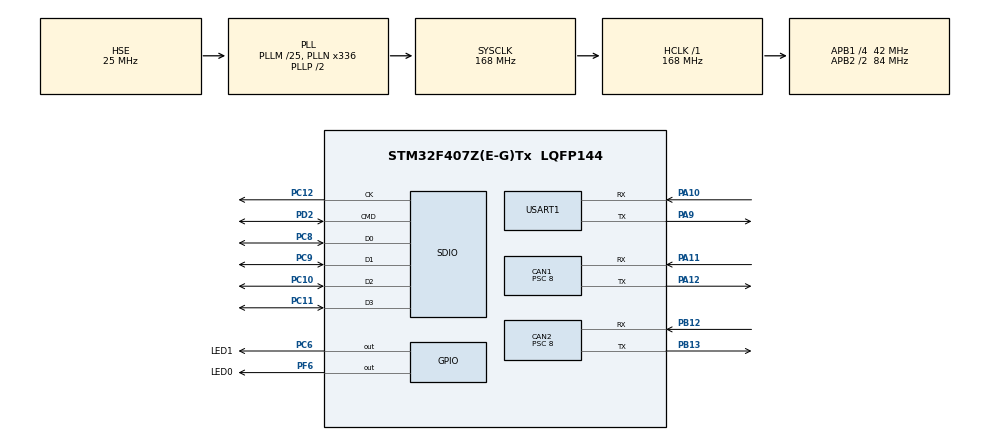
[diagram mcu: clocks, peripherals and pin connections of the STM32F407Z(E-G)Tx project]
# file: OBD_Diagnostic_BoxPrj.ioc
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CAN1.ABOM=ENABLE
CAN1.AWUM=ENABLE
CAN1.BS1=CAN_BS1_16TQ
CAN1.BS2=CAN_BS2_4TQ
CAN1.CalculateBaudRate=250000
CAN1.CalculateTimeBit=4000
CAN1.CalculateTimeQuantum=190.47619047619048
CAN1.Prescaler=8
CAN1.SJW=CAN_SJW_2TQ
CAN2.ABOM=ENABLE
CAN2.AWUM=ENABLE
CAN2.BS1=CAN_BS1_16TQ
CAN2.BS2=CAN_BS2_4TQ
CAN2.CalculateBaudRate=250000
CAN2.CalculateTimeBit=4000
CAN2.CalculateTimeQuantum=190.47619047619048
CAN2.Prescaler=8
CAN2.SJW=CAN_SJW_2TQ
Dma.Request0=USART1_TX
Dma.Request1=SDIO_RX
Dma.Request2=SDIO_TX
Dma.SDIO_RX.1.Direction=DMA_PERIPH_TO_MEMORY
Dma.SDIO_RX.1.FIFOMode=DMA_FIFOMODE_ENABLE
Dma.SDIO_RX.1.FIFOThreshold=DMA_FIFO_THRESHOLD_FULL
Dma.SDIO_RX.1.Instance=DMA2_Stream3
Dma.SDIO_RX.1.MemBurst=DMA_MBURST_SINGLE
Dma.SDIO_RX.1.MemDataAlignment=DMA_MDATAALIGN_BYTE
Dma.SDIO_RX.1.MemInc=DMA_MINC_ENABLE
Dma.SDIO_RX.1.Mode=DMA_PFCTRL
Dma.SDIO_RX.1.PeriphBurst=DMA_PBURST_INC4
Dma.SDIO_RX.1.PeriphDataAlignment=DMA_PDATAALIGN_WORD
Dma.SDIO_RX.1.PeriphInc=DMA_PINC_DISABLE
Dma.SDIO_RX.1.Priority=DMA_PRIORITY_LOW
Dma.SDIO_TX.2.Direction=DMA_MEMORY_TO_PERIPH
Dma.SDIO_TX.2.FIFOMode=DMA_FIFOMODE_ENABLE
Dma.SDIO_TX.2.FIFOThreshold=DMA_FIFO_THRESHOLD_FULL
Dma.SDIO_TX.2.Instance=DMA2_Stream6
Dma.SDIO_TX.2.MemBurst=DMA_MBURST_SINGLE
Dma.SDIO_TX.2.MemDataAlignment=DMA_MDATAALIGN_BYTE
Dma.SDIO_TX.2.MemInc=DMA_MINC_ENABLE
Dma.SDIO_TX.2.Mode=DMA_PFCTRL
Dma.SDIO_TX.2.PeriphBurst=DMA_PBURST_INC4
Dma.SDIO_TX.2.PeriphDataAlignment=DMA_PDATAALIGN_WORD
Dma.SDIO_TX.2.PeriphInc=DMA_PINC_DISABLE
Dma.SDIO_TX.2.Priority=DMA_PRIORITY_LOW
Dma.USART1_TX.0.Direction=DMA_MEMORY_TO_PERIPH
Dma.USART1_TX.0.FIFOMode=DMA_FIFOMODE_DISABLE
Dma.USART1_TX.0.Instance=DMA2_Stream7
Dma.USART1_TX.0.MemDataAlignment=DMA_MDATAALIGN_BYTE
Dma.USART1_TX.0.MemInc=DMA_MINC_ENABLE
Dma.USART1_TX.0.Mode=DMA_NORMAL
Dma.USART1_TX.0.PeriphDataAlignment=DMA_PDATAALIGN_BYTE
Dma.USART1_TX.0.PeriphInc=DMA_PINC_DISABLE
Dma.USART1_TX.0.Priority=DMA_PRIORITY_LOW
FATFS.USE_DMA_CODE_SD=0
FATFS._CODE_PAGE=936
FATFS._MAX_SS=512
FATFS._USE_LFN=2
Mcu.Family=STM32F4
Mcu.Name=STM32F407Z(E-G)Tx
Mcu.Package=LQFP144
NVIC.CAN1_RX0_IRQn=true\:0\:0\:true\:false\:true\:true\:true\:true
NVIC.CAN2_RX0_IRQn=true\:0\:0\:false\:false\:true\:true\:true\:true
NVIC.DMA2_Stream3_IRQn=true\:0\:0\:false\:false\:true\:false\:true\:true
NVIC.DMA2_Stream6_IRQn=true\:0\:0\:false\:false\:true\:false\:true\:true
NVIC.DMA2_Stream7_IRQn=true\:0\:0\:false\:false\:true\:false\:true\:true
NVIC.PriorityGroup=NVIC_PRIORITYGROUP_2
NVIC.SDIO_IRQn=true\:0\:0\:false\:false\:true\:true\:true\:true
NVIC.USART1_IRQn=true\:0\:0\:false\:false\:true\:true\:true\:true
PA10.Mode=Asynchronous
PA10.Signal=USART1_RX
PA11.GPIO_PuPd=GPIO_PULLUP
PA11.Mode=CAN_Activate
PA11.Signal=CAN1_RX
PA12.GPIO_PuPd=GPIO_PULLUP
PA12.Mode=CAN_Activate
PA12.Signal=CAN1_TX
PA9.Mode=Asynchronous
PA9.Signal=USART1_TX
PB12.GPIO_PuPd=GPIO_PULLUP
PB12.Mode=CAN_Activate
PB12.Signal=CAN2_RX
PB13.GPIO_PuPd=GPIO_PULLUP
PB13.Mode=CAN_Activate
PB13.Signal=CAN2_TX
PC10.Mode=SD_4_bits_Wide_bus
PC10.Signal=SDIO_D2
PC11.Mode=SD_4_bits_Wide_bus
PC11.Signal=SDIO_D3
PC12.Mode=SD_4_bits_Wide_bus
PC12.Signal=SDIO_CK
PC6.GPIO_Label=LED1
PC6.GPIO_ModeDefaultOutputPP=GPIO_MODE_OUTPUT_OD
PC6.GPIO_PuPd=GPIO_NOPULL
PC6.Signal=GPIO_Output
PC8.Mode=SD_4_bits_Wide_bus
PC8.Signal=SDIO_D0
PC9.Mode=SD_4_bits_Wide_bus
PC9.Signal=SDIO_D1
PD2.Mode=SD_4_bits_Wide_bus
PD2.Signal=SDIO_CMD
PF6.GPIO_Label=LED0
PF6.GPIO_ModeDefaultOutputPP=GPIO_MODE_OUTPUT_OD
PF6.Signal=GPIO_Output
PH0-OSC_IN.Mode=HSE-External-Oscillator
PH0-OSC_IN.Signal=RCC_OSC_IN
PH1-OSC_OUT.Mode=HSE-External-Oscillator
PH1-OSC_OUT.Signal=RCC_OSC_OUT
ProjectManager.HeapSize=0x200
ProjectManager.StackSize=0x1000
ProjectManager.TargetToolchain=MDK-ARM V5
RCC.48MHZClocksFreq_Value=48000000
RCC.AHBFreq_Value=168000000
RCC.APB1CLKDivider=RCC_HCLK_DIV4
RCC.APB1Freq_Value=42000000
RCC.APB1TimFreq_Value=84000000
RCC.APB2CLKDivider=RCC_HCLK_DIV2
RCC.APB2Freq_Value=84000000
RCC.APB2TimFreq_Value=168000000
RCC.CortexFreq_Value=168000000
RCC.HCLKFreq_Value=168000000
RCC.HSE_VALUE=25000000
RCC.HSI_VALUE=16000000
RCC.LSE_VALUE=32768
RCC.PLLM=25
RCC.PLLN=336
RCC.PLLQ=7
RCC.PLLSourceVirtual=RCC_PLLSOURCE_HSE
RCC.SYSCLKFreq_VALUE=168000000
RCC.SYSCLKSource=RCC_SYSCLKSOURCE_PLLCLK
RCC.VCOOutputFreq_Value=336000000
SDIO.HardwareFlowControl=SDIO_HARDWARE_FLOW_CONTROL_DISABLE
USART1.VirtualMode=VM_ASYNC
VP_FATFS_VS_SDIO.Mode=SDIO
board=custom

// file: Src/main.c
/* USER CODE BEGIN Header */
/**
  ******************************************************************************
  * @file           : main.c
  * @brief          : Main program body
  ******************************************************************************
  * @attention
  *
  * Copyright (c) 2022 STMicroelectronics.
  * All rights reserved.
  *
  * This software is licensed under terms that can be found in the LICENSE file
  * in the root directory of this software component.
  * If no LICENSE file comes with this software, it is provided AS-IS.
  *
  ******************************************************************************
  */
/* USER CODE END Header */
#include "main.h"
#include "fatfs.h"

/* USER CODE BEGIN PD */
#define DEBUG
//#define APP
/* USER CODE END PD */

 CAN_HandleTypeDef hcan1;
CAN_HandleTypeDef hcan2;

SD_HandleTypeDef hsd;
DMA_HandleTypeDef hdma_sdio_rx;
DMA_HandleTypeDef hdma_sdio_tx;

UART_HandleTypeDef huart1;
DMA_HandleTypeDef hdma_usart1_tx;

/* USER CODE BEGIN PV */
tx_can_t Tx_CAN1 = {
	.hcan = &hcan1      /*1.结构体成员指针需要初始化*/
};
rx_can_t Rx_CAN1 = {
	.hcan = &hcan1      /*1.结构体成员指针需要初始化*/
};

tx_can_t Tx_CAN2 = {
	.hcan = &hcan2      /*1.结构体成员指针需要初始化*/
};
rx_can_t Rx_CAN2 = {
	.hcan = &hcan2      /*1.结构体成员指针需要初始化*/
};

FATFS fs;                 // Work area (file system object) for logical drive
FIL fil;                  // file objects
uint32_t byteswritten;                /* File write counts */
uint32_t bytesread;                   /* File read counts */
char wtext[] = "1"; /* File write buffer */
uint8_t rtext[100];                     /* File read buffers */
char filename[] = "FirmwareUpdateFlag.txt";
uint8_t Receive_dat_buffer[100];			  	//数据接收缓存数组

uint32_t temp = 0;

/* USER CODE END PV */

void SystemClock_Config(void);
static void MX_GPIO_Init(void);
static void MX_DMA_Init(void);
static void MX_USART1_UART_Init(void);
static void MX_CAN1_Init(void);
static void MX_CAN2_Init(void);
static void MX_SDIO_SD_Init(void);

int main(void)
{
  /* USER CODE BEGIN 1 */
	#ifdef APP
	SCB->VTOR = FLASH_BASE | 0x10000;//设置偏移量
	#endif
  /* USER CODE END 1 */

  /* MCU Configuration--------------------------------------------------------*/

  /* Reset of all peripherals, Initializes the Flash interface and the Systick. */
  HAL_Init();

  /* Configure the system clock */
  SystemClock_Config();

  /* Initialize all configured peripherals */
  MX_GPIO_Init();
  MX_DMA_Init();
  MX_USART1_UART_Init();
  MX_CAN1_Init();
  MX_CAN2_Init();
  MX_SDIO_SD_Init();
  MX_FATFS_Init();
  /* USER CODE BEGIN 2 */
	HAL_UART_Receive_IT(RxTx_IT_Usart1.huart,&RxTx_IT_Usart1.rx_data,1);//串口接收到1个数据，接收之后调用接收完成回调函数

	printf("-----------APP_start---------\n");

	#ifdef DEBUG
//	retSD = f_mount(&fs, "0:", 1);
//	if(retSD)
//	{
//			printf(" mount error : %d \r\n",retSD);
//			Error_Handler();
//	}
//	else
//	{
//		printf(" mount sucess!!! \r\n");
//		retSD = f_open(&fil, filename, FA_OPEN_ALWAYS  | FA_READ | FA_WRITE);
//		if(retSD) printf(" open file error : %d\r\n",retSD);
//		else printf(" open file success!!!\r\n");
//
//		retSD = f_write(&fil, wtext, sizeof(wtext), (void *)&byteswritten);
//		if(retSD) printf(" write file error : %d\r\n",retSD);
//		else printf(" write file success!!!\r\n");
//
//		retSD = f_close(&fil);
//		if(retSD) printf(" close file error : %d\r\n",retSD);
//		else printf(" close file success!!!\r\n");

//		printf("----------------------------------\r\n");
//
//		retSD = f_open(&fil, filename, FA_OPEN_ALWAYS  | FA_READ | FA_WRITE);
//		if(retSD) printf(" open file error : %d\r\n",retSD);
//		else printf(" open file success!!!\r\n");
//
//		retSD = f_read(&fil,rtext,sizeof(rtext),(void *)bytesread);
//		if(retSD) printf("read file error : %d\r\n",retSD);
//		else printf(" read date is : %s\r\n",rtext);
//
//		retSD = f_close(&fil);
//		if(retSD) printf(" close file error : %d\r\n",retSD);
//		else printf(" close file success!!!\r\n");
//		retSD = f_mount(NULL, "0:", 1);
//		if(retSD) printf(" mount error : %d\r\n",retSD);
//	}
	#endif
  /* USER CODE END 2 */

  /* Infinite loop */
  /* USER CODE BEGIN WHILE */
  while (1)
  {
		#ifdef DEBUG
	//	HAL_Delay(1000);
	//	LED_Operation(LED0_GPIO_Port,LED0_Pin,2);
		APP_Update_Recieve();
		if(Current_IAP_UpDate_Flag >= Update);
		else
		{
			HAL_Delay(1000);
			Usart_DMA_SendString(RxTx_IT_Usart1.huart,(uint8_t *)"这条使用Usart_DMA输出\n");
			//printf("这条使用printf输出\n");
		}

		#ifdef APP
		if(Current_IAP_UpDate_Flag == JumpIAP)
		{
			printf("-----------APP_reset---------\n");
			retSD = f_mount(&fs, "0:", 1);
			if(retSD)
			{
					printf(" mount error : %d \r\n",retSD);
			}
			else
			{
				printf(" mount sucess!!! \r\n");
				retSD = f_open(&fil, filename, FA_OPEN_ALWAYS | FA_WRITE);
				if(retSD) printf(" open file error : %d\r\n",retSD);
				else printf(" open file success!!!\r\n");

				retSD = f_write(&fil, wtext, 1, (void *)&byteswritten);
				if(retSD) printf(" write file error : %d\r\n",retSD);
				else printf(" write file success!!!\r\n");

				retSD = f_close(&fil);
				if(retSD) printf(" close file error : %d\r\n",retSD);
				else printf(" close file success!!!\r\n");
				retSD = f_mount(NULL, "0:", 1);
				if(retSD) printf(" mount error : %d\r\n",retSD);
			}
			Current_IAP_UpDate_Flag = Wait;
			SCB->VTOR = FLASH_BASE;//设置偏移量
			NVIC_SystemReset();
		}
		#endif
//		printf("这条使用printf输出\n");
//		Usart_DMA_SendString(RxTx_IT_Usart1.huart,(uint8_t *)"这条使用Usart_DMA输出\n");
//
//		Tx_CAN2.frametype = 1;
//		Tx_CAN2.id = 0x0CF101D0;
//		Tx_CAN2.datalen = 8;
//		Tx_CAN2.tx_buf[0] = 0;
//		Tx_CAN2.tx_buf[1] = 1;
//		Tx_CAN2.tx_buf[2] = 2;
//		CAN_SendMsg(Tx_CAN2.hcan,Tx_CAN2.frametype,Tx_CAN2.id,Tx_CAN2.datalen,Tx_CAN2.tx_buf);
//
//		Tx_CAN1.frametype = 1;
//		Tx_CAN1.id = 0x0CF102D0;
//		Tx_CAN1.datalen = 8;
//		Tx_CAN1.tx_buf[0] = 7;
//		Tx_CAN1.tx_buf[1] = 6;
//		Tx_CAN1.tx_buf[2] = 5;
//		CAN_SendMsg(Tx_CAN1.hcan,Tx_CAN1.frametype,Tx_CAN1.id,Tx_CAN1.datalen,Tx_CAN1.tx_buf);

		#endif
    /* USER CODE END WHILE */

  }
}

void SystemClock_Config(void)
{
  RCC_OscInitTypeDef RCC_OscInitStruct = {0};
  RCC_ClkInitTypeDef RCC_ClkInitStruct = {0};

  /** Configure the main internal regulator output voltage
  */
  __HAL_RCC_PWR_CLK_ENABLE();
  __HAL_PWR_VOLTAGESCALING_CONFIG(PWR_REGULATOR_VOLTAGE_SCALE1);

  /** Initializes the RCC Oscillators according to the specified parameters
  * in the RCC_OscInitTypeDef structure.
  */
  RCC_OscInitStruct.OscillatorType = RCC_OSCILLATORTYPE_HSE;
  RCC_OscInitStruct.HSEState = RCC_HSE_ON;
  RCC_OscInitStruct.PLL.PLLState = RCC_PLL_ON;
  RCC_OscInitStruct.PLL.PLLSource = RCC_PLLSOURCE_HSE;
  RCC_OscInitStruct.PLL.PLLM = 25;
  RCC_OscInitStruct.PLL.PLLN = 336;
  RCC_OscInitStruct.PLL.PLLP = RCC_PLLP_DIV2;
  RCC_OscInitStruct.PLL.PLLQ = 7;
  if (HAL_RCC_OscConfig(&RCC_OscInitStruct) != HAL_OK)
  {
    Error_Handler();
  }

  /** Initializes the CPU, AHB and APB buses clocks
  */
  RCC_ClkInitStruct.ClockType = RCC_CLOCKTYPE_HCLK|RCC_CLOCKTYPE_SYSCLK
                              |RCC_CLOCKTYPE_PCLK1|RCC_CLOCKTYPE_PCLK2;
  RCC_ClkInitStruct.SYSCLKSource = RCC_SYSCLKSOURCE_PLLCLK;
  RCC_ClkInitStruct.AHBCLKDivider = RCC_SYSCLK_DIV1;
  RCC_ClkInitStruct.APB1CLKDivider = RCC_HCLK_DIV4;
  RCC_ClkInitStruct.APB2CLKDivider = RCC_HCLK_DIV2;

  if (HAL_RCC_ClockConfig(&RCC_ClkInitStruct, FLASH_LATENCY_5) != HAL_OK)
  {
    Error_Handler();
  }
}

static void MX_CAN1_Init(void)
{

  /* USER CODE BEGIN CAN1_Init 0 */
	CAN_FilterTypeDef sFilterConfig;
  /* USER CODE END CAN1_Init 0 */

  hcan1.Instance = CAN1;
  hcan1.Init.Prescaler = 8;
  hcan1.Init.Mode = CAN_MODE_NORMAL;
  hcan1.Init.SyncJumpWidth = CAN_SJW_2TQ;
  hcan1.Init.TimeSeg1 = CAN_BS1_16TQ;
  hcan1.Init.TimeSeg2 = CAN_BS2_4TQ;
  hcan1.Init.TimeTriggeredMode = DISABLE;
  hcan1.Init.AutoBusOff = ENABLE;
  hcan1.Init.AutoWakeUp = ENABLE;
  hcan1.Init.AutoRetransmission = DISABLE;
  hcan1.Init.ReceiveFifoLocked = DISABLE;
  hcan1.Init.TransmitFifoPriority = DISABLE;
  if (HAL_CAN_Init(&hcan1) != HAL_OK)
  {
    Error_Handler();
  }
  /* USER CODE BEGIN CAN1_Init 2 */

	sFilterConfig.FilterBank = 0;									// 使用过滤器0
	sFilterConfig.FilterMode = CAN_FILTERMODE_IDMASK;				// 屏蔽位模式
	sFilterConfig.FilterScale = CAN_FILTERSCALE_32BIT;				// 32位宽
	sFilterConfig.FilterIdHigh = 0x0000;							// ID高十六位
	sFilterConfig.FilterIdLow = 0x0000;								// ID低十六位
	sFilterConfig.FilterMaskIdHigh = 0x0000;						// ID掩码高十六位
	sFilterConfig.FilterMaskIdLow = 0x0000;							// ID掩码低十六位
	sFilterConfig.FilterFIFOAssignment = CAN_RX_FIFO0;				// 过滤器0关联到FIFO0
	sFilterConfig.FilterActivation = ENABLE;						// **过滤器0
	sFilterConfig.SlaveStartFilterBank = 14;
	if (HAL_CAN_ConfigFilter(&hcan1, &sFilterConfig) != HAL_OK)
	{
		Error_Handler();
	}

	if (HAL_CAN_Start(&hcan1) != HAL_OK)
	{
		Error_Handler();
	}

	if(HAL_CAN_ActivateNotification(&hcan1,CAN_IT_TX_MAILBOX_EMPTY|CAN_IT_RX_FIFO0_MSG_PENDING|CAN_IT_BUSOFF) != HAL_OK)					// 使能CAN接收中断
	{
		Error_Handler();

	}
  /* USER CODE END CAN1_Init 2 */

}

static void MX_CAN2_Init(void)
{

  /* USER CODE BEGIN CAN2_Init 0 */
	CAN_FilterTypeDef sFilterConfig;
  /* USER CODE END CAN2_Init 0 */

  hcan2.Instance = CAN2;
  hcan2.Init.Prescaler = 8;
  hcan2.Init.Mode = CAN_MODE_NORMAL;
  hcan2.Init.SyncJumpWidth = CAN_SJW_2TQ;
  hcan2.Init.TimeSeg1 = CAN_BS1_16TQ;
  hcan2.Init.TimeSeg2 = CAN_BS2_4TQ;
  hcan2.Init.TimeTriggeredMode = DISABLE;
  hcan2.Init.AutoBusOff = ENABLE;
  hcan2.Init.AutoWakeUp = ENABLE;
  hcan2.Init.AutoRetransmission = DISABLE;
  hcan2.Init.ReceiveFifoLocked = DISABLE;
  hcan2.Init.TransmitFifoPriority = DISABLE;
  if (HAL_CAN_Init(&hcan2) != HAL_OK)
  {
    Error_Handler();
  }
  /* USER CODE BEGIN CAN2_Init 2 */
	sFilterConfig.FilterBank = 14;									// 使用过滤器0
	sFilterConfig.FilterMode = CAN_FILTERMODE_IDMASK;				// 屏蔽位模式
	sFilterConfig.FilterScale = CAN_FILTERSCALE_32BIT;				// 32位宽
	sFilterConfig.FilterIdHigh = 0x0000;							// ID高十六位
	sFilterConfig.FilterIdLow = 0x0000;								// ID低十六位
	sFilterConfig.FilterMaskIdHigh = 0x0000;						// ID掩码高十六位
	sFilterConfig.FilterMaskIdLow = 0x0000;							// ID掩码低十六位
	sFilterConfig.FilterFIFOAssignment = CAN_RX_FIFO0;				// 过滤器0关联到FIFO0
	sFilterConfig.FilterActivation = ENABLE;						// **过滤器0
	sFilterConfig.SlaveStartFilterBank = 14;
	if (HAL_CAN_ConfigFilter(&hcan2, &sFilterConfig) != HAL_OK)
	{
		Error_Handler();
	}

	if (HAL_CAN_Start(&hcan2) != HAL_OK)
	{
		Error_Handler();
	}

	if (HAL_CAN_ActivateNotification(&hcan2,CAN_IT_TX_MAILBOX_EMPTY|CAN_IT_RX_FIFO0_MSG_PENDING|CAN_IT_BUSOFF) != HAL_OK)		// 使能FIFO0数据中断接收
	{
		Error_Handler();
	}
  /* USER CODE END CAN2_Init 2 */

}

static void MX_SDIO_SD_Init(void)
{

  hsd.Instance = SDIO;
  hsd.Init.ClockEdge = SDIO_CLOCK_EDGE_RISING;
  hsd.Init.ClockBypass = SDIO_CLOCK_BYPASS_DISABLE;
  hsd.Init.ClockPowerSave = SDIO_CLOCK_POWER_SAVE_DISABLE;
  hsd.Init.BusWide = SDIO_BUS_WIDE_1B;
  hsd.Init.HardwareFlowControl = SDIO_HARDWARE_FLOW_CONTROL_DISABLE;
  hsd.Init.ClockDiv = 0;

}

static void MX_USART1_UART_Init(void)
{

  huart1.Instance = USART1;
  huart1.Init.BaudRate = 115200;
  huart1.Init.WordLength = UART_WORDLENGTH_8B;
  huart1.Init.StopBits = UART_STOPBITS_1;
  huart1.Init.Parity = UART_PARITY_NONE;
  huart1.Init.Mode = UART_MODE_TX_RX;
  huart1.Init.HwFlowCtl = UART_HWCONTROL_NONE;
  huart1.Init.OverSampling = UART_OVERSAMPLING_16;
  if (HAL_UART_Init(&huart1) != HAL_OK)
  {
    Error_Handler();
  }
  /* USER CODE BEGIN USART1_Init 2 */
	__HAL_UART_ENABLE_IT(&huart1,UART_IT_RXNE);
  /* USER CODE END USART1_Init 2 */

}

static void MX_DMA_Init(void)
{

  /* DMA controller clock enable */
  __HAL_RCC_DMA2_CLK_ENABLE();

  /* DMA interrupt init */
  /* DMA2_Stream3_IRQn interrupt configuration */
  HAL_NVIC_SetPriority(DMA2_Stream3_IRQn, 0, 0);
  HAL_NVIC_EnableIRQ(DMA2_Stream3_IRQn);
  /* DMA2_Stream6_IRQn interrupt configuration */
  HAL_NVIC_SetPriority(DMA2_Stream6_IRQn, 0, 0);
  HAL_NVIC_EnableIRQ(DMA2_Stream6_IRQn);
  /* DMA2_Stream7_IRQn interrupt configuration */
  HAL_NVIC_SetPriority(DMA2_Stream7_IRQn, 0, 0);
  HAL_NVIC_EnableIRQ(DMA2_Stream7_IRQn);

}

static void MX_GPIO_Init(void)
{
  GPIO_InitTypeDef GPIO_InitStruct = {0};

  /* GPIO Ports Clock Enable */
  __HAL_RCC_GPIOF_CLK_ENABLE();
  __HAL_RCC_GPIOH_CLK_ENABLE();
  __HAL_RCC_GPIOB_CLK_ENABLE();
  __HAL_RCC_GPIOC_CLK_ENABLE();
  __HAL_RCC_GPIOA_CLK_ENABLE();
  __HAL_RCC_GPIOD_CLK_ENABLE();

  /*Configure GPIO pin Output Level */
  HAL_GPIO_WritePin(LED0_GPIO_Port, LED0_Pin, GPIO_PIN_RESET);

  /*Configure GPIO pin Output Level */
  HAL_GPIO_WritePin(LED1_GPIO_Port, LED1_Pin, GPIO_PIN_RESET);

  /*Configure GPIO pin : LED0_Pin */
  GPIO_InitStruct.Pin = LED0_Pin;
  GPIO_InitStruct.Mode = GPIO_MODE_OUTPUT_OD;
  GPIO_InitStruct.Pull = GPIO_NOPULL;
  GPIO_InitStruct.Speed = GPIO_SPEED_FREQ_LOW;
  HAL_GPIO_Init(LED0_GPIO_Port, &GPIO_InitStruct);

  /*Configure GPIO pin : LED1_Pin */
  GPIO_InitStruct.Pin = LED1_Pin;
  GPIO_InitStruct.Mode = GPIO_MODE_OUTPUT_OD;
  GPIO_InitStruct.Pull = GPIO_NOPULL;
  GPIO_InitStruct.Speed = GPIO_SPEED_FREQ_LOW;
  HAL_GPIO_Init(LED1_GPIO_Port, &GPIO_InitStruct);

}

/* USER CODE BEGIN 4 */
/**
  * @brief CAN的FIFO0的回调函数
  * @param CAN_HandleTypeDef *hcan
  * @retval None
  */
void HAL_CAN_RxFifo0MsgPendingCallback(CAN_HandleTypeDef *hcan)
{
	uint8_t buf[8];
	CAN_RxHeaderTypeDef CAN_RX_HDR;

	if (HAL_CAN_GetRxMessage(hcan, CAN_RX_FIFO0, &CAN_RX_HDR, buf) == HAL_OK)		// 获得接收到的数据头和数据
	{
		#ifdef DEBUG
		LED_Operation(LED0_GPIO_Port,LED0_Pin,2);
		#endif
		if (Rx_CAN2.hcan == hcan)
		{
			Rx_CAN2 = CAN_RecieveMsg(Rx_CAN2,&CAN_RX_HDR,buf);
		}
		else if (Rx_CAN1.hcan == hcan)
		{
			Rx_CAN1 = CAN_RecieveMsg(Rx_CAN1,&CAN_RX_HDR,buf);
		}
		HAL_CAN_ActivateNotification(hcan, CAN_IT_RX_FIFO0_MSG_PENDING);	// 再次使能FIFO0接收中断
	}
}
/**
  * @brief 串口接收的回调函数
  * @param UART_HandleTypeDef *huart
  * @retval None
  */
void HAL_UART_RxCpltCallback(UART_HandleTypeDef *huart)
{
	if (RxTx_IT_Usart1.huart == huart)
	{
		#ifdef DEBUG
			LED_Operation(LED0_GPIO_Port,LED0_Pin,2);
		#endif
		if(Current_IAP_UpDate_Flag == StartRec)
		{
			UpdateReadCnt++;
			UpdateIdleCnt = 0;
			//printf("环形队列的容量 :%d\r\n",rbCapacity(&pRb));

			if(PutData(&pRb,&RxTx_IT_Usart1.rx_data,1) == -1)//写入环形队列
			{
				printf("能写的空间 :%d\r\n",rbCanWrite(&pRb));
				printf("环形队列溢出\r\n");
			}
		}
		else Usart_IT_Deal(RxTx_IT_Usart1.rx_data);

		while(HAL_UART_Receive_IT(RxTx_IT_Usart1.huart,&RxTx_IT_Usart1.rx_data,1) != HAL_OK);//串口接收到10个数据，接收之后调用接收完成回调函
	}

}
/* USER CODE END 4 */

void Error_Handler(void)
{
  __disable_irq();
  while (1)
  {
  }
}
